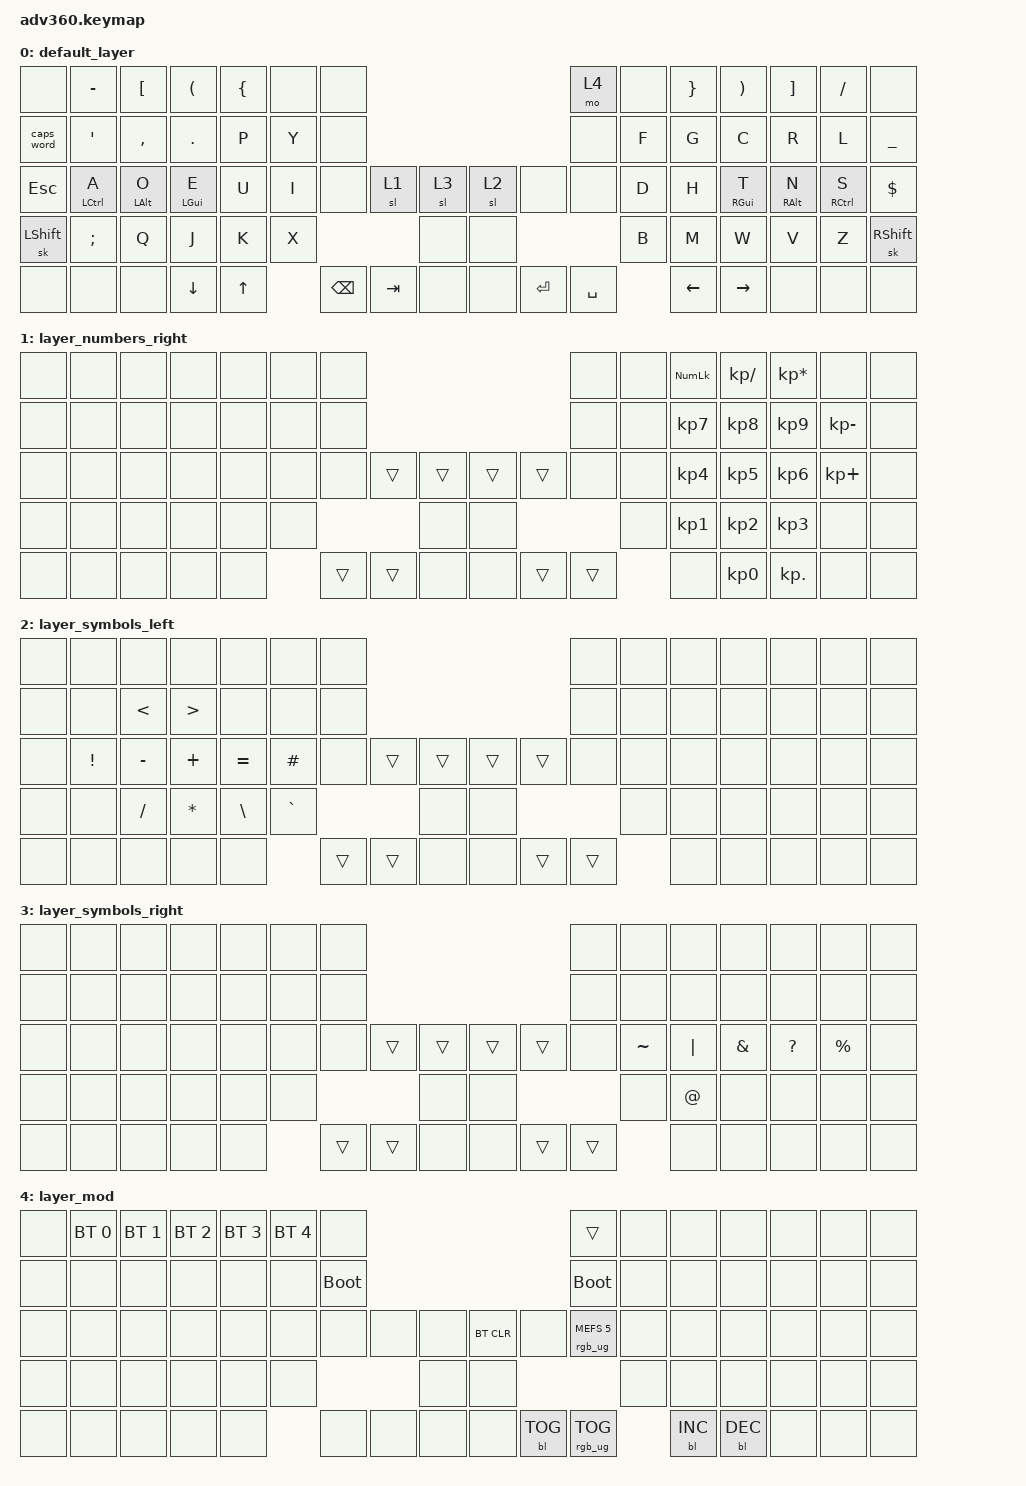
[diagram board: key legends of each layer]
/*
 * Copyright (c) 2020 The ZMK Contributors
 *
 * SPDX-License-Identifier: MIT
 */
/* THIS FILE WAS GENERATED!
 *
 * This file was generated automatically. You may or may not want to
 * edit it directly.
 */

#include <dt-bindings/zmk/stp.h>
#include <behaviors.dtsi>
#include <dt-bindings/zmk/backlight.h>
#include <dt-bindings/zmk/bt.h>
#include <dt-bindings/zmk/keys.h>
#include <dt-bindings/zmk/rgb.h>

&sk { quick-release; };

&sl { release-after-ms = <500>; };

/ {
    behaviors {
        #include "macros.dtsi"
        #include "version.dtsi"

        hm_l: homerow_mods_left {
            compatible = "zmk,behavior-hold-tap";
            label = "HOMEROW_MODS_LEFT";
            #binding-cells = <2>;
            tapping-term-ms = <280>;
            flavor = "balanced";
            bindings = <&kp>, <&kp>;

            hold-trigger-on-release;
            hold-trigger-key-positions = <22 23 24 25 26 40 41 42 43 44 54 55 56 57 58 9 10 11 71 72 69 70 66 65>;
            require-prior-idle-ms = <175>;
            quick-tap-ms = <200>;
        };

        hm_r: homerow_mods_right {
            compatible = "zmk,behavior-hold-tap";
            label = "HOMEROW_MODS_RIGHT";
            #binding-cells = <2>;
            tapping-term-ms = <280>;
            flavor = "balanced";
            bindings = <&kp>, <&kp>;

            hold-trigger-on-release;
            require-prior-idle-ms = <175>;
            hold-trigger-key-positions = <14 15 16 17 18 19 28 29 30 31 32 33 46 47 48 49 50 51 64 63 4 3 2 66 65 69 70>;
            quick-tap-ms = <200>;
        };
    };

    keymap {
        compatible = "zmk,keymap";

        default_layer {
            bindings = <
&none           &kp MINUS             &kp LEFT_BRACKET  &kp LEFT_PARENTHESIS  &kp LEFT_BRACE  &none  &none                                           &mo 4      &none  &kp RIGHT_BRACE  &kp RIGHT_PARENTHESIS  &kp RIGHT_BRACKET  &kp SLASH              &none
&caps_word      &kp APOSTROPHE        &kp COMMA         &kp DOT               &kp P           &kp Y  &none                                           &none      &kp F  &kp G            &kp C                  &kp R              &kp L                  &kp UNDERSCORE
&kp ESC         &hm_l LEFT_CONTROL A  &hm_l LEFT_ALT O  &hm_l LEFT_GUI E      &kp U           &kp I  &none     &sl 1    &sl 3      &sl 2  &none      &none      &kp D  &kp H            &hm_r RIGHT_GUI T      &hm_r RIGHT_ALT N  &hm_r RIGHT_CONTROL S  &kp DOLLAR
&sk LEFT_SHIFT  &kp SEMICOLON         &kp Q             &kp J                 &kp K           &kp X                     &none      &none                        &kp B  &kp M            &kp W                  &kp V              &kp Z                  &sk RIGHT_SHIFT
&none           &none                 &none             &kp DOWN_ARROW        &kp UP_ARROW           &kp BSPC  &kp TAB  &none      &none  &kp ENTER  &kp SPACE         &kp LEFT_ARROW   &kp RIGHT_ARROW        &none              &none                  &none
            >;
        };

        layer_numbers_right {
            bindings = <
&none  &none  &none  &none  &none  &none  &none                                       &none   &none  &kp KP_NUMLOCK   &kp KP_DIVIDE    &kp KP_MULTIPLY  &none         &none
&none  &none  &none  &none  &none  &none  &none                                       &none   &none  &kp KP_NUMBER_7  &kp KP_NUMBER_8  &kp KP_NUMBER_9  &kp KP_MINUS  &none
&none  &none  &none  &none  &none  &none  &none   &trans  &trans      &trans  &trans  &none   &none  &kp KP_NUMBER_4  &kp KP_NUMBER_5  &kp KP_NUMBER_6  &kp KP_PLUS   &none
&none  &none  &none  &none  &none  &none                  &none       &none                   &none  &kp KP_NUMBER_1  &kp KP_NUMBER_2  &kp KP_NUMBER_3  &none         &none
&none  &none  &none  &none  &none         &trans  &trans  &none       &none   &trans  &trans         &none            &kp KP_NUMBER_0  &kp KP_DOT       &none         &none
            >;
        };

        layer_symbols_left {
            bindings = <
&none  &none            &none          &none             &none          &none      &none                                       &none   &none  &none  &none  &none  &none  &none
&none  &none            &kp LESS_THAN  &kp GREATER_THAN  &none          &none      &none                                       &none   &none  &none  &none  &none  &none  &none
&none  &kp EXCLAMATION  &kp MINUS      &kp PLUS          &kp EQUAL      &kp HASH   &none   &trans  &trans      &trans  &trans  &none   &none  &none  &none  &none  &none  &none
&none  &none            &kp FSLH       &kp ASTERISK      &kp BACKSLASH  &kp GRAVE                  &none       &none                   &none  &none  &none  &none  &none  &none
&none  &none            &none          &none             &none                     &trans  &trans  &none       &none   &trans  &trans         &none  &none  &none  &none  &none
            >;
        };

        layer_symbols_right {
            bindings = <
&none  &none  &none  &none  &none  &none  &none                                       &none   &none      &none     &none          &none         &none        &none
&none  &none  &none  &none  &none  &none  &none                                       &none   &none      &none     &none          &none         &none        &none
&none  &none  &none  &none  &none  &none  &none   &trans  &trans      &trans  &trans  &none   &kp TILDE  &kp PIPE  &kp AMPERSAND  &kp QUESTION  &kp PERCENT  &none
&none  &none  &none  &none  &none  &none                  &none       &none                   &none      &kp AT    &none          &none         &none        &none
&none  &none  &none  &none  &none         &trans  &trans  &none       &none   &trans  &trans             &none     &none          &none         &none        &none
            >;
        };

        layer_mod {
            bindings = <
&none  &bt BT_SEL 0  &bt BT_SEL 1  &bt BT_SEL 2  &bt BT_SEL 3  &bt BT_SEL 4  &none                                                  &trans                  &none  &none       &none       &none  &none  &none
&none  &none         &none         &none         &none         &none         &bootloader                                            &bootloader             &none  &none       &none       &none  &none  &none
&none  &none         &none         &none         &none         &none         &none        &none  &none      &bt BT_CLR  &none       &rgb_ug RGB_MEFS_CMD 5  &none  &none       &none       &none  &none  &none
&none  &none         &none         &none         &none         &none                             &none      &none                                           &none  &none       &none       &none  &none  &none
&none  &none         &none         &none         &none                       &none        &none  &none      &none       &bl BL_TOG  &rgb_ug RGB_TOG                &bl BL_INC  &bl BL_DEC  &none  &none  &none
            >;
        };
    };
};
